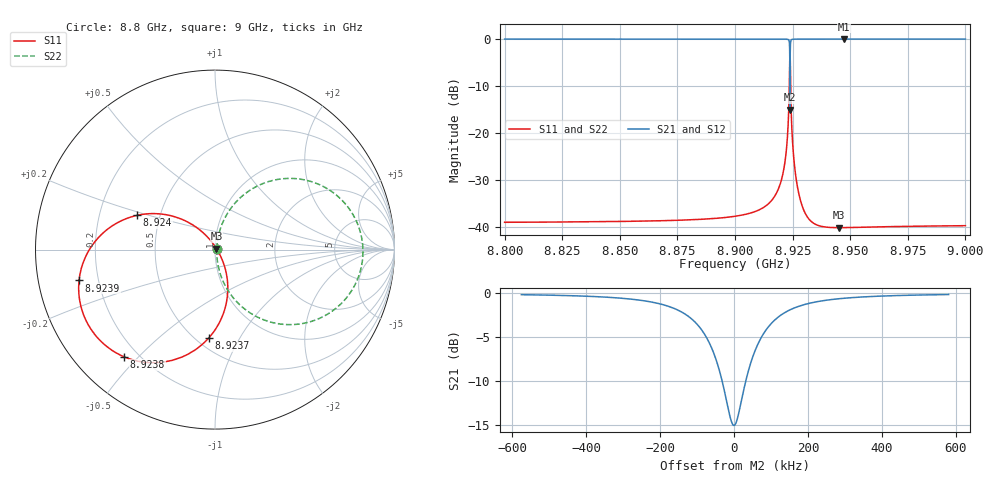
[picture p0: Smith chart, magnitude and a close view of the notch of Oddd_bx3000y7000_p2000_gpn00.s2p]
! Sonnet Data File
! From: emgraph Version : 16.52
! From Project: Resonator2_cp
! Data is De-embedded
! Data File Written: 10/06/2017 13:30:08
!< HDATE 10/06/2017 09:06:26
!< MDATE 10/06/2017 09:06:26
!< PARAMS
!< gap = 100.0
!< Length = 400.0
!< Pwid1 = 2000.0
!< Pwid2 = 2000.0
!< END PARAMS
# GHZ S MA R 35.97000
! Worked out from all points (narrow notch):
!   1595 points, 8.8 GHz to 9 GHz, reference 35.97 ohm
!   highest |S21| = 0.00 dB at 8.9472 GHz (marker M1); lowest = -15.0 dB at 8.9239 GHz (marker M2)
!   notch at M2: 15.0 dB deep, 97.3 kHz wide at half that depth
!   lowest |S11| = -40.2 dB at 8.9452 GHz (marker M3), VSWR 1.02, Z = 36.6 + j0.376 ohm
!   |S11| at or under -10 dB: start of sweep to 8.9236 GHz; 8.9241 GHz to end of sweep
!   |S22| runs from -40.2 to -1.7 dB; largest |S21 - S12| = 0
!   S11 on the Smith chart (normalised r, x): 8.8 GHz: 1.02, +0.00; 8.9237 GHz: 0.57, -0.75; 8.9238 GHz: 0.15, -0.45; 8.9239 GHz: 0.13, -0.11; 8.924 GHz: 0.37, +0.18; 9 GHz: 1.02, +0.00
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8.8  0.01116 4.9  0.9999 -74.1  0.9999 -74.1  0.01116 26.9
!< P1 F=8.8 Eeff=(5.36817953 -2.3731e-5) Z0=(35.9853883 8.0522e-5) R=0.0 C=0.0
!< P2 F=8.8 Eeff=(5.36817953 -2.3731e-5) Z0=(35.9853883 8.0522e-5) R=0.0 C=0.0
8.8334  0.01128 3.2  0.9999 -74.4  0.9999 -74.4  0.01128 28.0
8.8668  0.01158 0.2  0.9999 -74.7  0.9999 -74.7  0.01158 30.4
8.9  0.01294 -9.1  0.9999 -75.1  0.9999 -75.1  0.01295 38.8
8.913  0.01644 -22.2  0.9998 -75.5  0.9998 -75.5  0.01646 51.1
8.919375  0.02742 -38.8  0.9995 -76.3  0.9995 -76.3  0.02749 65.9
8.922595  0.07974 -56.5  0.9956 -79.4  0.9956 -79.4  0.08004 76.0
8.923398  0.2036 -69.7  0.9702 -86.6  0.9702 -86.6  0.2044 71.5
8.923705  0.4942 -94.1  0.8067 -104.3  0.8067 -104.3  0.4963 50.6
8.923823  0.783 -130.3  0.3469 -118.2  0.3469 -118.2  0.7863 15.9
8.92386  0.8212 -148.3  0.1771 -74.3  0.1771 -74.3  0.8247 -1.7
8.9239  0.7767 -167.2  0.3639 -31.2  0.3639 -31.2  0.78 -20.2
8.924023  0.4732 156.2  0.8227 -46.8  0.8227 -46.8  0.4752 -55.3
8.92425  0.2296 135.8  0.961 -61.6  0.961 -61.6  0.2306 -72.9
8.924804  0.09589 122.8  0.9932 -69.4  0.9932 -69.4  0.09633 -79.0
8.926418  0.03406 107.5  0.9991 -73.0  0.9991 -73.0  0.03422 -72.6
8.9294  0.01602 85.1  0.9998 -74.2  0.9998 -74.2  0.01609 -53.1
8.9334  0.01123 61.5  0.9999 -74.6  0.9999 -74.6  0.01126 -30.7
8.9452  0.009786 31.7  0.9999 -75.0  0.9999 -75.0  0.009793 -1.8
8.9472  0.009792 29.4  0.9999 -75.1  0.9999 -75.1  0.009798 0.4
8.9668  0.01003 18.4  0.9999 -75.3  0.9999 -75.3  0.01003 10.9
9  0.01027 12.8  0.9999 -75.7  0.9999 -75.7  0.01027 15.9
